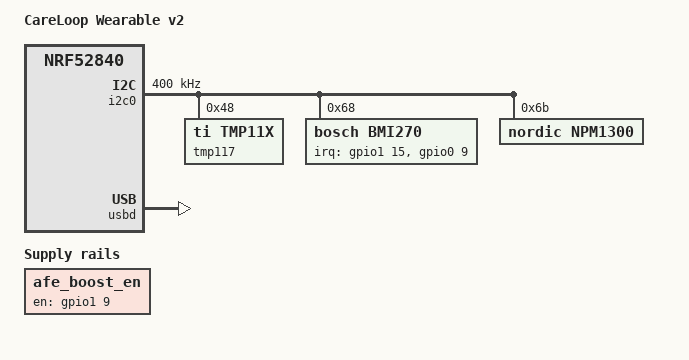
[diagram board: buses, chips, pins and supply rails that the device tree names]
/*
 * Copyright (c) 2026 CareLoop
 * SPDX-License-Identifier: Apache-2.0
 *
 * CareLoop Wearable v2 - nRF52840 (aQFN73).
 * Net names and pin numbers taken from CareLoop.kicad_sch.
 */

/dts-v1/;
#include <nordic/nrf52840_qiaa.dtsi>
#include "careloop_v2-pinctrl.dtsi"
#include <zephyr/dt-bindings/input/input-event-codes.h>

/ {
	model = "CareLoop Wearable v2";
	compatible = "careloop,careloop-v2";

	chosen {
		zephyr,sram = &sram0;
		zephyr,flash = &flash0;
		zephyr,code-partition = &slot0_partition;
	};

	/*
	 * MAX17222 boost regulator (U8) generating +5V for the AFE LED
	 * (TX) supply. Held off at reset - the PPG LEDs are dark until
	 * this is enabled, so enable it before expecting optical data.
	 */
	afe_boost_en: afe-boost-en {
		compatible = "regulator-fixed";
		regulator-name = "afe_boost_5v";
		enable-gpios = <&gpio1 9 GPIO_ACTIVE_HIGH>;
		regulator-boot-on;
		startup-delay-us = <1000>;
	};
};

&gpiote {
	status = "okay";
};

&gpio0 {
	status = "okay";
};

&gpio1 {
	status = "okay";
};

&i2c0 {
	compatible = "nordic,nrf-twim";
	status = "okay";
	pinctrl-0 = <&i2c0_default>;
	pinctrl-1 = <&i2c0_sleep>;
	pinctrl-names = "default", "sleep";
	clock-frequency = <I2C_BITRATE_FAST>;

	/*
	 * U3 - TMP117 skin temperature. ADD0 strapped to GND => 0x48.
	 * Driven by the generic ti,tmp11x driver. That binding has no
	 * alert property, so the ALERT line (U3.C2 -> P0.13) is not
	 * described here; drive it directly via gpio0 pin 13 if needed.
	 */
	tmp117: tmp11x@48 {
		compatible = "ti,tmp11x";
		reg = <0x48>;
	};

	/* U4 - BMI270 IMU. SDO strapped to GND => 0x68. CSB tied high => I2C mode. */
	bmi270: bmi270@68 {
		compatible = "bosch,bmi270";
		reg = <0x68>;
		irq-gpios = <&gpio1 15 GPIO_ACTIVE_HIGH>,
			    <&gpio0 9 GPIO_ACTIVE_HIGH>;
	};

	/* U2 - nPM1300 PMIC (charger, regulators, fuel gauge). */
	npm1300: pmic@6b {
		compatible = "nordic,npm1300";
		reg = <0x6b>;
		status = "okay";
	};

	/*
	 * U7 - TI AFE4404 optical front end (PPG), NOT a MAX86178.
	 * Fixed I2C address 0x58. No upstream Zephyr driver exists yet,
	 * so this node stays disabled until a "ti,afe4404" binding and
	 * driver are written. Kept here so the wiring is recorded:
	 *   ADC_RDY (data ready) -> P0.12   [net /AFE/AFE_INT1]
	 *   RESETZ  (active low) -> P0.26   [net /AFE/AFE_INT2, misnamed]
	 *   LED supply           -> &afe_boost_en
	 */
	afe4404: afe4404@58 {
		compatible = "ti,afe4404";
		reg = <0x58>;
		status = "disabled";
		adc-rdy-gpios = <&gpio0 12 GPIO_ACTIVE_HIGH>;
		reset-gpios = <&gpio0 26 GPIO_ACTIVE_LOW>;
	};
};

&flash0 {
	partitions {
		compatible = "fixed-partitions";
		#address-cells = <1>;
		#size-cells = <1>;

		boot_partition: partition@0 {
			label = "mcuboot";
			reg = <0x00000000 0x0000C000>;
		};
		slot0_partition: partition@c000 {
			label = "image-0";
			reg = <0x0000C000 0x00072000>;
		};
		slot1_partition: partition@7e000 {
			label = "image-1";
			reg = <0x0007E000 0x00072000>;
		};
		storage_partition: partition@f0000 {
			label = "storage";
			reg = <0x000F0000 0x00008000>;
		};
	};
};

zephyr_udc0: &usbd {
	compatible = "nordic,nrf-usbd";
	status = "okay";
};
